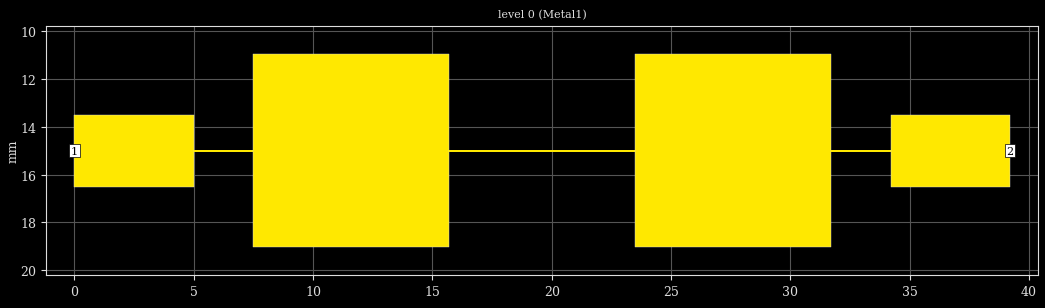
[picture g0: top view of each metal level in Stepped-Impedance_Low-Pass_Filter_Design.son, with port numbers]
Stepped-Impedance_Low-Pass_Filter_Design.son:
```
FTYP SONPROJ 19 ! Sonnet Project File
VER 18.53
HEADER
LIC SL61c53196
DAT 01/27/2022 13:54:02
BUILT_BY_CREATED xgeom 18.53-Lite 01/26/2022 20:36:14
BUILT_BY_SAVED sonnet 18.53-Lite
MDATE 01/27/2022 13:54:02
HDATE 01/27/2022 13:54:02
END HEADER
DIM
ANG DEG
CAP PF
CON /OH
FREQ GHZ
IND NH
LNG MM
RES OH
END DIM
CONTROL
VARSWP
OPTIONS  -d
SPEED 1
CACHE_ABS 2
Q_ACC N
END CONTROL
GEO
TMET "Free Space" 0 FREESPACE 376.7303136 0 0 0
BMET "Copper" 1 NOR 58000000 0.5 0.035 
MET "Copper" 1 NOR 58000000 0.5 0.035 
BOX 1 39.2 30 7840 6000 20 0
      20 1 1 0 0 0 0 "Air"
      1.6 4.4 1 0.02 0 0 0 "FR-4"
TECHLAY METAL Metal1 <UNSPECIFIED> -2 -65534 
0 0 0 N 9 1 1 100 100 0 0 0 Y
END
END
LORGN 0 30 U 
POR1 BOX
POLY 32 1
3
1 50 0 0 0 0 15 
POR1 BOX
POLY 47 1
1
2 50 0 0 0 39.2 15 
NUM 7
0 5 0 N 32 1 1 100 100 0 0 0 Y
TLAYNAM Metal1 INH
0 13.5
5 13.5
5 16.5
0 16.5
0 13.5
END
0 5 0 N 33 1 1 100 100 0 0 0 Y
TLAYNAM Metal1 INH
5 14.95
7.5 14.95
7.5 15.05
5 15.05
5 14.95
END
0 5 0 N 43 1 1 100 100 0 0 0 Y
TLAYNAM Metal1 INH
7.5 10.95
15.7 10.95
15.7 19.05
7.5 19.05
7.5 10.95
END
0 5 0 N 44 1 1 100 100 0 0 0 Y
TLAYNAM Metal1 INH
15.7 14.95
23.5 14.95
23.5 15.05
15.7 15.05
15.7 14.95
END
0 5 0 N 45 1 1 100 100 0 0 0 Y
TLAYNAM Metal1 INH
23.5 10.95
31.7 10.95
31.7 19.05
23.5 19.05
23.5 10.95
END
0 5 0 N 46 1 1 100 100 0 0 0 Y
TLAYNAM Metal1 INH
31.7 14.95
34.2 14.95
34.2 15.05
31.7 15.05
31.7 14.95
END
0 5 0 N 47 1 1 100 100 0 0 0 Y
TLAYNAM Metal1 INH
34.2 13.5
39.2 13.5
39.2 16.5
34.2 16.5
34.2 13.5
END
END GEO
OPT
MAX 100
END OPT
VARSWP
ENABLED Y
FREQ N AY ABS_ENTRY UNK 
FREQ Y AN SWEEP 0.0 5.0 0.1
END
END VARSWP
```
